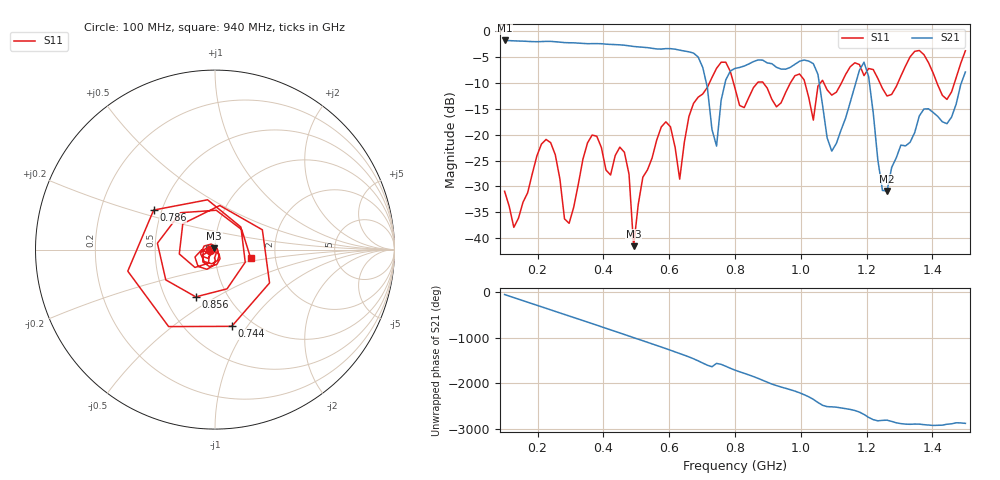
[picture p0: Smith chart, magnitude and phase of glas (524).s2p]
! NanoVNA-App
! Date: 2025-09-25 15:59:33
! Start: 100MHz Stop: 1,5GHz Points: 101
! S-Parameter data: F S11 S21 S12 S22
# Hz S RI R 50
!  Frequency  S11_Real  S11_Imag  S21_Real  S21_Imag  S12_Real  S12_Imag  S22_Real  S22_Imag
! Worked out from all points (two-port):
!   101 points, 100 MHz to 1.5 GHz, reference 50 ohm
!   highest |S21| = -1.80 dB at 100 MHz (marker M1); lowest = -30.9 dB at 1.262 GHz (marker M2)
!   |S21| within 3 dB of the highest: start of sweep to 684.3 MHz
!   lowest |S11| = -41.5 dB at 492 MHz (marker M3), VSWR 1.02, Z = 49.5 + j0.657 ohm
!   |S11| at or under -10 dB: start of sweep to 722.4 MHz; 795.5 MHz to 868 MHz (72.49 MHz wide, 8.72 % of centre); 886.1 MHz to 968.3 MHz (82.22 MHz wide, 8.87 % of centre) (the widest 3 of 7)
!   S12 and S22 are empty: the file has one direction only
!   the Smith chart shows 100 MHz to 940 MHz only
!   S11 on the Smith chart (normalised r, x): 100 MHz: 0.95, -0.01; 744 MHz: 0.80, -0.85; 786 MHz: 0.45, +0.24; 856 MHz: 0.71, -0.41; 940 MHz: 1.49, -0.14
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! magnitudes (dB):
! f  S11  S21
! 100 MHz  -30.9  -1.8
! 128 MHz  -37.9  -1.9
! 226 MHz  -20.9  -2.0
! 296 MHz  -37.1  -2.2
! 338 MHz  -24.7  -2.4
! 464 MHz  -23.4  -2.7
! 492 MHz  -41.5  -3.0
! 576 MHz  -18.5  -3.5
! 632 MHz  -28.6  -3.7
! 702 MHz  -12.1  -7.0
! 744 MHz  -7.2  -22.2
! 786 MHz  -7.8  -7.7
! 800 MHz  -11.0  -7.2
! 856 MHz  -10.9  -5.9
! 940 MHz  -13.9  -7.3
! 996 MHz  -8.3  -5.8
! 1.038 GHz  -17.2  -6.3
! 1.094 GHz  -12.4  -23.2
! 1.192 GHz  -8.6  -6.0
! 1.262 GHz  -12.5  -30.9
! 1.276 GHz  -12.2  -26.3
! 1.5 GHz  -3.8  -7.9
